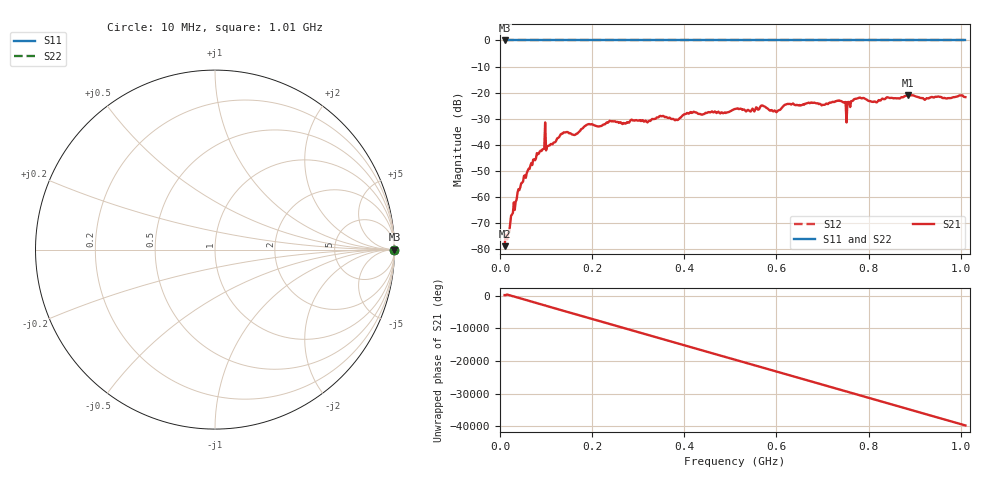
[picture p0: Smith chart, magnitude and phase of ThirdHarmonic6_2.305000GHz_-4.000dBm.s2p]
! 8/17/2025 3:09:25 AM
! C:\ANRITSUVNA\TEMP\TEMP.S2P
! CHANNEL.1
! TR.MEASUREMENT
! RAW.DATA
! RF.CORRECTION.OFF
! AVERAGING.OFF
! IF.BANDWIDTH: 5KHZ
! SWEEPTYPE:  FREQ.SWEEP(Linear)
! Reference Plane Port Info
! PORT:  PORT1  PORT2
! DISTANCE:  0  m  0  m
! TIME:  0  s  0  s
! PHASE.OFFSET:  0  deg.  0  deg.
! LOSS:  0  dB  0  dB
! REF.LOSS:  0  dB  0  dB
! REF.FREQ:  0  Hz  0  Hz
! Power Info
! POWER:  -20  dBm  -20  dBm
! EFF.POWER:  -20  dBm  -20  dBm
! SOURCE.ATTEN:  0  dB  0  dB
! TEST.ATTEN:  0  dB  0  dB
# GHZ S RI R 50.0
! FREQ.GHZ  S11RE  S11IM  S21RE  S21IM  S12RE  S12IM  S22RE  S22IM
!; PortSelection: Port_12
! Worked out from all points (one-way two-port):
!   501 points, 10 MHz to 1.01 GHz, reference 50 ohm
!   highest |S21| = -20.88 dB at 886 MHz (marker M1); lowest = -78.8 dB at 10 MHz (marker M2)
!   lowest |S11| = 0.0 dB at 10 MHz (marker M3)
!   |S11| at or under -10 dB: nowhere
!   |S22| runs from 0.0 to 0.0 dB; largest |S21 - S12| = 1.1
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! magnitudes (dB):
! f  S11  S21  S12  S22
! 10 MHz  0.0  -78.8  0.0  0.0
! 18 MHz  0.0  -73.5  0.0  0.0
! 26 MHz  0.0  -66.7  0.0  0.0
! 42 MHz  0.0  -57.3  0.0  0.0
! 94 MHz  0.0  -41.6  0.0  0.0
! 104 MHz  0.0  -40.4  0.0  0.0
! 136 MHz  0.0  -35.7  0.0  0.0
! 178 MHz  0.0  -33.8  0.0  0.0
! 344 MHz  0.0  -29.4  0.0  0.0
! 384 MHz  0.0  -30.5  0.0  0.0
! 416 MHz  0.0  -27.8  0.0  0.0
! 510 MHz  0.0  -26.3  0.0  0.0
! 570 MHz  0.0  -24.9  0.0  0.0
! 598 MHz  0.0  -27.2  0.0  0.0
! 622 MHz  0.0  -24.4  0.0  0.0
! 678 MHz  0.0  -23.9  0.0  0.0
! 736 MHz  0.0  -23.0  0.0  0.0
! 756 MHz  0.0  -23.6  0.0  0.0
! 778 MHz  0.0  -22.1  0.0  0.0
! 844 MHz  0.0  -21.9  0.0  0.0
! 886 MHz  0.0  -20.9  0.0  0.0
! 1.01 GHz  0.0  -21.7  0.0  0.0
